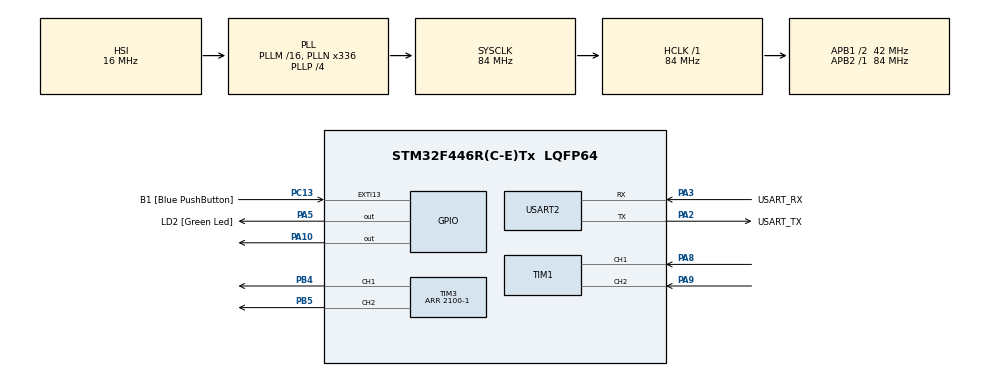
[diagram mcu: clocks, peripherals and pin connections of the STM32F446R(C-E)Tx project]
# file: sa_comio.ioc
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Mcu.Family=STM32F4
Mcu.Name=STM32F446R(C-E)Tx
Mcu.Package=LQFP64
NVIC.PriorityGroup=NVIC_PRIORITYGROUP_0
NVIC.TIM2_IRQn=true\:0\:0\:false\:false\:true\:true\:true
PA10.Signal=GPIO_Output
PA13.GPIO_Label=TMS
PA13.Mode=Serial_Wire
PA13.Signal=SYS_JTMS-SWDIO
PA14.GPIO_Label=TCK
PA14.Mode=Serial_Wire
PA14.Signal=SYS_JTCK-SWCLK
PA2.GPIO_Label=USART_TX
PA2.Mode=Asynchronous
PA2.Signal=USART2_TX
PA3.GPIO_Label=USART_RX
PA3.Mode=Asynchronous
PA3.Signal=USART2_RX
PA5.GPIO_Label=LD2 [Green Led]
PA5.Signal=GPIO_Output
PA8.Signal=S_TIM1_CH1
PA9.Signal=S_TIM1_CH2
PB4.Signal=S_TIM3_CH1
PB5.Signal=S_TIM3_CH2
PC13.GPIO_Label=B1 [Blue PushButton]
PC13.GPIO_ModeDefaultEXTI=GPIO_MODE_IT_FALLING
PC13.Signal=GPXTI13
PC14-OSC32_IN.Mode=LSE-External-Oscillator
PC14-OSC32_IN.Signal=RCC_OSC32_IN
PC15-OSC32_OUT.Mode=LSE-External-Oscillator
PC15-OSC32_OUT.Signal=RCC_OSC32_OUT
PH0-OSC_IN.Mode=HSE-External-Oscillator
PH0-OSC_IN.Signal=RCC_OSC_IN
PH1-OSC_OUT.Mode=HSE-External-Oscillator
PH1-OSC_OUT.Signal=RCC_OSC_OUT
ProjectManager.HeapSize=0x200
ProjectManager.StackSize=0x400
ProjectManager.TargetToolchain=STM32CubeIDE
RCC.48MHZClocksFreq_Value=84000000
RCC.AHBFreq_Value=84000000
RCC.APB1CLKDivider=RCC_HCLK_DIV2
RCC.APB1Freq_Value=42000000
RCC.APB1TimFreq_Value=84000000
RCC.APB2Freq_Value=84000000
RCC.APB2TimFreq_Value=84000000
RCC.CortexFreq_Value=84000000
RCC.FLatency-AdvancedSettings=FLASH_LATENCY_2
RCC.HCLKFreq_Value=84000000
RCC.HSE_VALUE=8000000
RCC.HSI_VALUE=16000000
RCC.PLLN=336
RCC.PLLP=RCC_PLLP_DIV4
RCC.SYSCLKFreq_VALUE=84000000
RCC.SYSCLKSource=RCC_SYSCLKSOURCE_PLLCLK
RCC.USBFreq_Value=168000000
RCC.VCOOutputFreq_Value=336000000
SH.S_TIM1_CH1.0=TIM1_CH1,Encoder_Interface
SH.S_TIM1_CH2.0=TIM1_CH2,Encoder_Interface
SH.S_TIM3_CH1.0=TIM3_CH1,PWM Generation1 CH1
SH.S_TIM3_CH2.0=TIM3_CH2,PWM Generation2 CH2
TIM1.AutoReloadPreload=TIM_AUTORELOAD_PRELOAD_ENABLE
TIM1.EncoderMode=TIM_ENCODERMODE_TI12
TIM1.IC1Filter=0
TIM2.Period=84000-1
TIM3.Channel-PWM\ Generation1\ CH1=TIM_CHANNEL_1
TIM3.Channel-PWM\ Generation2\ CH2=TIM_CHANNEL_2
TIM3.OCFastMode_PWM-PWM\ Generation1\ CH1=TIM_OCFAST_DISABLE
TIM3.Period=2100-1
TIM3.Pulse-PWM\ Generation1\ CH1=0
TIM3.Pulse-PWM\ Generation2\ CH2=0
USART2.StopBits=STOPBITS_1
USART2.VirtualMode=VM_ASYNC
VP_TIM2_VS_ClockSourceINT.Mode=Internal
VP_TIM3_VS_ClockSourceINT.Mode=Internal
board=NUCLEO-F446RE

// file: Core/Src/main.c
/* USER CODE BEGIN Header */
/**
  ******************************************************************************
  * @file           : main.c
  * @brief          : Main program body
  ******************************************************************************
  * @attention
  *
  * Copyright (c) 2022 STMicroelectronics.
  * All rights reserved.
  *
  * This software is licensed under terms that can be found in the LICENSE file
  * in the root directory of this software component.
  * If no LICENSE file comes with this software, it is provided AS-IS.
  *
  ******************************************************************************
  */
/* USER CODE END Header */
#include "main.h"
#include "tim.h"
#include "usart.h"
#include "gpio.h"

/* USER CODE BEGIN Includes */
#include <math.h>
#include "preproc.h"
#include <stdio.h>
/* USER CODE END Includes */

/* USER CODE BEGIN PV */
float r, error_sum, error_last = 0; // r=reference position, y=current position, error=r-y
uint8_t FLAG_MOVEMENT_FINISHED = 0;
enum ControllerType controller_type = CONTROLLER_TYPE_SEL;

//external variables
extern float buf_pos[NO_SAMPLES_CONTROLLER];
/* USER CODE END PV */

void SystemClock_Config(void);

int main(void)
{

  /* MCU Configuration--------------------------------------------------------*/

  /* Reset of all peripherals, Initializes the Flash interface and the Systick. */
  HAL_Init();

  /* Configure the system clock */
  SystemClock_Config();

  /* Initialize all configured peripherals */
  MX_GPIO_Init();
  MX_USART2_UART_Init();
  MX_TIM3_Init();
  MX_TIM1_Init();
  MX_TIM2_Init();
  /* USER CODE BEGIN 2 */

  HAL_GPIO_WritePin(GPIOA, GPIO_PIN_10, GPIO_PIN_SET);

  r = M_PI/2;
  error_last = r;

  __HAL_TIM_SET_COUNTER(&htim1, 0); // reset encoder value
  HAL_TIM_PWM_Start(&htim3, TIM_CHANNEL_1);
  HAL_TIM_PWM_Start(&htim3, TIM_CHANNEL_2);
  HAL_Delay(2000); // delay to allow motor to get to a complete stop

  // start 1ms periodic timer
  __HAL_TIM_SET_COUNTER(&htim1, 0);
  HAL_TIM_Encoder_Start(&htim1, TIM_CHANNEL_ALL);
  HAL_TIM_Base_Start_IT(&htim2);

  // wait for movement to finish
  while (!FLAG_MOVEMENT_FINISHED) HAL_Delay(100);

  HAL_TIM_Base_Stop_IT(&htim2);
  setVoltage(0, &htim3);
  FLAG_MOVEMENT_FINISHED = 0;
  uart_send_buffer(&huart2, buf_pos);

  /* USER CODE END 2 */

  /* Infinite loop */
  while (1)
  {

  }
}

void SystemClock_Config(void)
{
  RCC_OscInitTypeDef RCC_OscInitStruct = {0};
  RCC_ClkInitTypeDef RCC_ClkInitStruct = {0};

  /** Configure the main internal regulator output voltage
  */
  __HAL_RCC_PWR_CLK_ENABLE();
  __HAL_PWR_VOLTAGESCALING_CONFIG(PWR_REGULATOR_VOLTAGE_SCALE3);
  /** Initializes the RCC Oscillators according to the specified parameters
  * in the RCC_OscInitTypeDef structure.
  */
  RCC_OscInitStruct.OscillatorType = RCC_OSCILLATORTYPE_HSI;
  RCC_OscInitStruct.HSIState = RCC_HSI_ON;
  RCC_OscInitStruct.HSICalibrationValue = RCC_HSICALIBRATION_DEFAULT;
  RCC_OscInitStruct.PLL.PLLState = RCC_PLL_ON;
  RCC_OscInitStruct.PLL.PLLSource = RCC_PLLSOURCE_HSI;
  RCC_OscInitStruct.PLL.PLLM = 16;
  RCC_OscInitStruct.PLL.PLLN = 336;
  RCC_OscInitStruct.PLL.PLLP = RCC_PLLP_DIV4;
  RCC_OscInitStruct.PLL.PLLQ = 2;
  RCC_OscInitStruct.PLL.PLLR = 2;
  if (HAL_RCC_OscConfig(&RCC_OscInitStruct) != HAL_OK)
  {
    Error_Handler();
  }
  /** Initializes the CPU, AHB and APB buses clocks
  */
  RCC_ClkInitStruct.ClockType = RCC_CLOCKTYPE_HCLK|RCC_CLOCKTYPE_SYSCLK
                              |RCC_CLOCKTYPE_PCLK1|RCC_CLOCKTYPE_PCLK2;
  RCC_ClkInitStruct.SYSCLKSource = RCC_SYSCLKSOURCE_PLLCLK;
  RCC_ClkInitStruct.AHBCLKDivider = RCC_SYSCLK_DIV1;
  RCC_ClkInitStruct.APB1CLKDivider = RCC_HCLK_DIV2;
  RCC_ClkInitStruct.APB2CLKDivider = RCC_HCLK_DIV1;

  if (HAL_RCC_ClockConfig(&RCC_ClkInitStruct, FLASH_LATENCY_2) != HAL_OK)
  {
    Error_Handler();
  }
}

/* USER CODE BEGIN 4 */

void setVoltage(float voltage, TIM_HandleTypeDef* t){

//	__HAL_TIM_SET_COMPARE(htim, TIM_CHANNEL_1, (pulse + CH1_FREQ));

	int pulse = 0;

	if (voltage > 12.0 || voltage < -12.0) {
		pulse = 2100-1;
	}

	if (voltage >= 0.0 ) {
		pulse =(int) ((2100-1)*voltage/12);
		__HAL_TIM_SET_COMPARE(t, TIM_CHANNEL_1, pulse );
		__HAL_TIM_SET_COMPARE(t, TIM_CHANNEL_2, 0 );
	} else {
		pulse =(int) (-(2100-1)*voltage/12);
		__HAL_TIM_SET_COMPARE(t, TIM_CHANNEL_1, 0);
		__HAL_TIM_SET_COMPARE(t, TIM_CHANNEL_2, pulse);
	}

}

float getRad(TIM_HandleTypeDef* t){
	return (float) __HAL_TIM_GET_COUNTER(t)/REV_ENC_CNT*2*M_PI;
}

void uart_send_buffer(UART_HandleTypeDef* u, float* buf) {
	for (int i = 0; i < NO_SAMPLES_CONTROLLER; i++) {
		uint8_t m[100] = {0};
		sprintf((char*) m, "%d %.5f\r\n", i, buf[i]);
		HAL_UART_Transmit(u, m, sizeof(m), 10);
	}
}

/* USER CODE END 4 */

void Error_Handler(void)
{
  __disable_irq();
  while (1)
  {
  }
}
